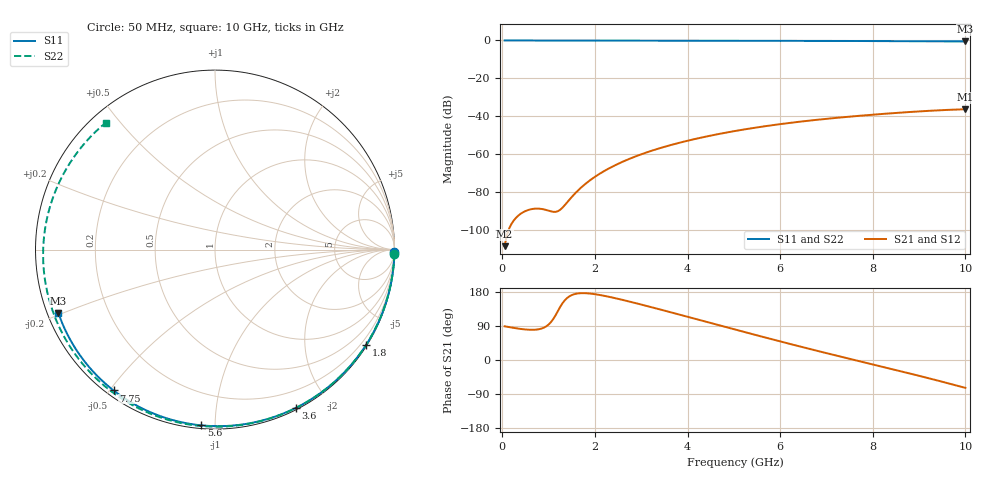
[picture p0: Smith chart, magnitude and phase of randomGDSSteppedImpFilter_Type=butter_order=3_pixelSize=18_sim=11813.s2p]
! freq	dB(S11)	phase(S11)	dB(S12)	phase(S12)
!  dB(S21)	phase(S21)	dB(S22)	phase(S22)
!S-par simulation data
#  GHz  S  DB  R 50
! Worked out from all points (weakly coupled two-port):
!   200 points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, 50 MHz to 10 GHz, reference 50 ohm
!   highest |S21| = -36.25 dB at 10 GHz (marker M1); lowest = -108.4 dB at 50 MHz (marker M2)
!   lowest |S11| = -0.5 dB at 10 GHz (marker M3), VSWR 33.12, Z = 1.57 - j9.74 ohm
!   |S11| at or under -10 dB: nowhere
!   |S22| runs from -0.6 to 0.0 dB; largest |S21 - S12| = 0
!   S11 on the Smith chart (normalised r, x): 50 MHz: open; 1.8 GHz: 0.03, -3.45; 3.6 GHz: 0.02, -1.63; 5.6 GHz: 0.02, -0.93; 7.75 GHz: 0.02, -0.51; 10 GHz: 0.03, -0.19
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0.05  -0.00 -0.9  -108.38 89.0  -108.38 89.0  -0.00 -1.4
0.75  -0.02 -13.6  -88.58 80.4  -88.58 80.4  -0.03 -20.4
1.15  -0.03 -20.8  -90.31 118.0  -90.31 118.0  -0.04 -31.1
1.55  -0.04 -27.9  -81.14 173.5  -81.14 173.5  -0.05 -41.7
1.6  -0.04 -28.8  -79.87 175.0  -79.87 175.0  -0.05 -43.0
1.75  -0.04 -31.5  -76.47 176.4  -76.47 176.4  -0.06 -46.9
1.8  -0.04 -32.3  -75.45 176.3  -75.45 176.3  -0.06 -48.2
2.1  -0.05 -37.6  -70.27 171.7  -70.27 171.7  -0.07 -55.8
2.45  -0.06 -43.6  -65.59 162.9  -65.59 162.9  -0.08 -64.5
2.9  -0.07 -51.3  -60.89 149.5  -60.89 149.5  -0.10 -75.5
3.4  -0.08 -59.7  -56.77 133.6  -56.77 133.6  -0.11 -87.3
3.6  -0.08 -63.0  -55.36 127.2  -55.36 127.2  -0.12 -91.9
4.3  -0.11 -74.3  -51.16 104.3  -51.16 104.3  -0.15 -107.6
5.05  -0.13 -86.0  -47.60 79.7  -47.60 79.7  -0.18 -123.7
5.6  -0.16 -94.4  -45.45 61.8  -45.45 61.8  -0.21 -135.2
6.15  -0.18 -102.6  -43.62 44.3  -43.62 44.3  -0.25 -146.5
6.7  -0.22 -110.7  -42.05 27.2  -42.05 27.2  -0.29 -157.7
7.25  -0.25 -118.6  -40.70 10.6  -40.70 10.6  -0.33 -169.0
7.75  -0.29 -125.7  -39.61 -4.3  -39.61 -4.3  -0.38 -179.4
8.35  -0.34 -134.3  -38.46 -22.1  -38.46 -22.1  -0.43 167.9
9.15  -0.43 -145.7  -37.16 -46.3  -37.16 -46.3  -0.52 150.4
10  -0.52 -157.9  -36.25 -73.6  -36.25 -73.6  -0.60 130.8
